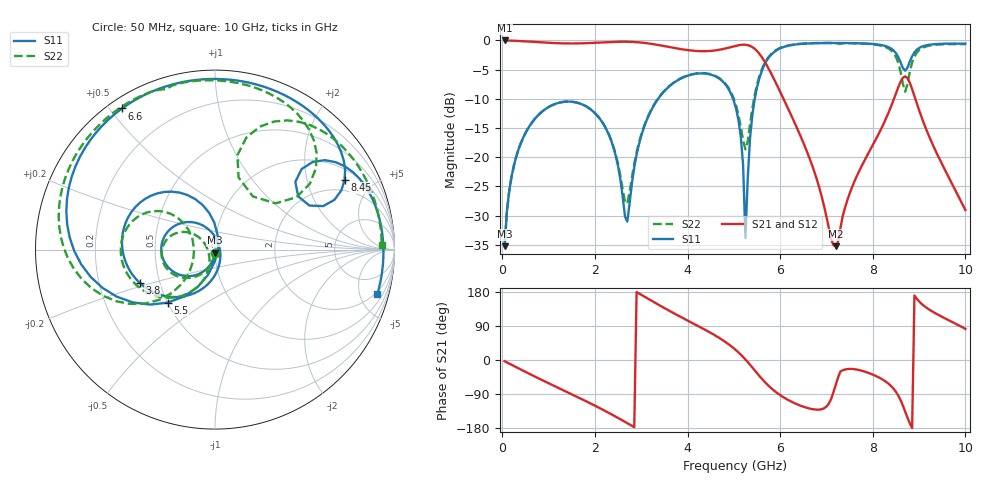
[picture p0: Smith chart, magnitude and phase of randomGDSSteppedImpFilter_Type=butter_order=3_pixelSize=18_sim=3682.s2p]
! freq	dB(S11)	phase(S11)	dB(S12)	phase(S12)
!  dB(S21)	phase(S21)	dB(S22)	phase(S22)
!S-par simulation data
#  GHz  S  DB  R 50
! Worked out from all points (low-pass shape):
!   200 points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, 50 MHz to 10 GHz, reference 50 ohm
!   highest |S21| = -0.01 dB at 50 MHz (marker M1); lowest = -35.2 dB at 7.2 GHz (marker M2)
!   |S21| within 3 dB of the highest: start of sweep to 5.615 GHz
!   lowest |S11| = -35.2 dB at 50 MHz (marker M3), VSWR 1.04, Z = 49.9 - j1.72 ohm
!   |S11| at or under -10 dB: start of sweep to 3.366 GHz; 4.982 GHz to 5.452 GHz (469.6 MHz wide, 9 % of centre)
!   |S22| runs from -35.2 to -0.4 dB; largest |S21 - S12| = 0
!   S11 on the Smith chart (normalised r, x): 50 MHz: 1.00, -0.03; 3.8 GHz: 0.38, -0.18; 5.5 GHz: 0.50, -0.35; 6.6 GHz: 0.04, +0.54; 8.45 GHz: 1.44, +3.41; 10 GHz: 1.71, -7.04
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0.05  -35.24 -93.1  -0.01 -3.2  -0.01 -3.2  -35.24 -92.8
0.2  -23.33 -103.3  -0.04 -12.7  -0.04 -12.7  -23.32 -102.2
0.55  -15.16 -126.3  -0.18 -34.4  -0.18 -34.4  -15.16 -123.3
1.75  -11.05 158.5  -0.49 -105.2  -0.49 -105.2  -11.04 170.8
2.35  -17.14 113.5  -0.27 -142.8  -0.27 -142.8  -17.03 143.6
2.7  -31.03 -5.2  -0.23 -166.7  -0.23 -166.7  -27.95 -152.5
3.4  -9.63 -127.0  -0.82 144.0  -0.82 144.0  -9.55 -127.9
3.8  -6.77 -156.2  -1.41 117.2  -1.41 117.2  -6.72 -150.8
5.05  -11.76 105.6  -0.91 25.6  -0.91 25.6  -11.23 139.5
5.2  -21.34 80.8  -0.73 8.0  -0.73 8.0  -17.15 155.0
5.25  -33.85 31.9  -0.74 1.5  -0.74 1.5  -18.67 179.6
5.35  -16.71 -105.3  -0.94 -12.5  -0.94 -12.5  -14.33 -138.4
5.5  -8.05 -131.7  -1.81 -34.6  -1.81 -34.6  -7.58 -138.0
5.95  -1.56 170.3  -7.97 -88.5  -7.97 -88.5  -1.48 179.2
6.6  -0.52 123.4  -19.47 -126.9  -19.47 -126.9  -0.50 138.7
6.7  -0.49 117.8  -21.61 -129.7  -21.61 -129.7  -0.47 133.8
7.2  -0.44 92.4  -35.23 -65.3  -35.23 -65.3  -0.47 110.6
8.35  -1.19 34.6  -12.20 -63.6  -12.20 -63.6  -1.43 51.7
8.45  -1.73 28.2  -10.17 -75.9  -10.17 -75.9  -2.16 43.4
8.8  -3.63 42.9  -7.26 -167.2  -7.26 -167.2  -5.34 76.6
9.1  -0.95 26.3  -14.14 143.4  -14.14 143.4  -1.18 52.6
10  -0.56 -15.3  -29.06 82.1  -29.06 82.1  -0.63 1.5
